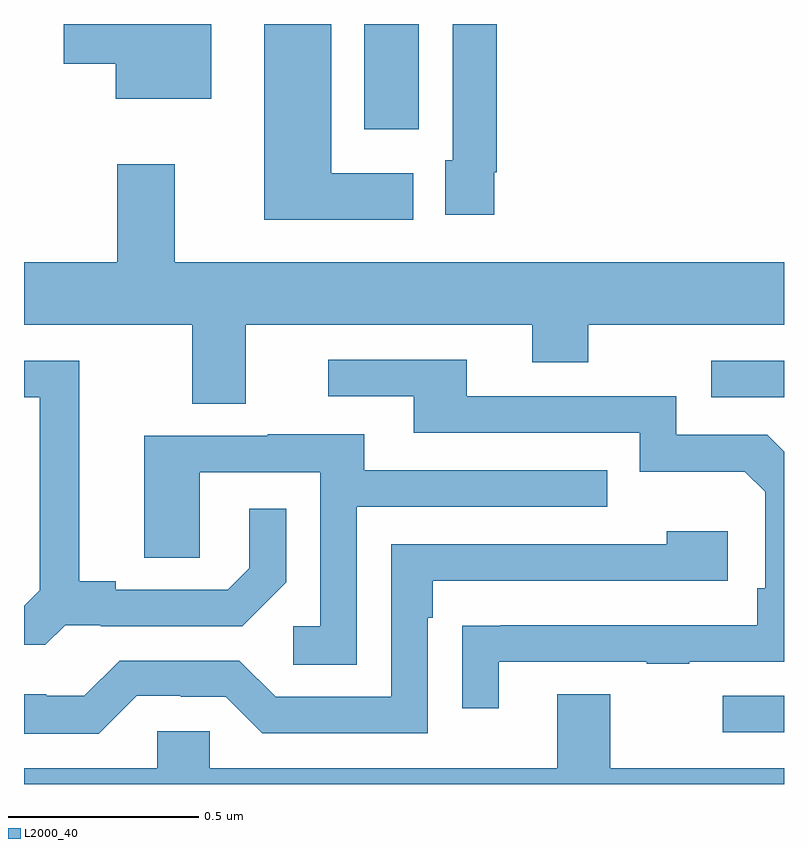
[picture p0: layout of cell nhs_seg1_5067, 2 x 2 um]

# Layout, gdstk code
import gdstk
lib = gdstk.Library(unit=1e-6, precision=1e-09)
def R(c, l, rs):  # rectangles x0, y0, x1, y1
    for r in rs: c.add(gdstk.rectangle(r[:2], r[2:], *l))
def P(c, l, *ps):  # polygons
    for p in ps: c.add(gdstk.Polygon(p, *l))
L2000_40 = (2000, 40)

nhs_seg1_5067 = lib.new_cell('nhs_seg1_5067')
R(nhs_seg1_5067, L2000_40, [(175.839,541.335,176,541.431), (175.809,542.217,176,542.313), (174.896,542.922,175.039,543.199)])
P(nhs_seg1_5067, L2000_40, [(174.493,543.199),(174.105,543.199),(174.105,543.095),(174.242,543.095),(174.242,543.002),(174.493,543.002)],
  [(175.024,542.806),(174.808,542.806),(174.808,543.199),(174.632,543.199),(174.632,542.684),(175.024,542.684)],
  [(175.237,542.809),(175.244,542.809),(175.244,543.199),(175.128,543.199),(175.128,542.841),(175.109,542.841),(175.109,542.697),(175.237,542.697)],
  [(174.583,542.408),(175.337,542.408),(175.337,542.309),(175.485,542.309),(175.485,542.408),(176,542.408),(176,542.572),(174.397,542.572),(174.397,542.83),(174.245,542.83),(174.245,542.572),(174,542.572),(174,542.408),(174.443,542.408),(174.443,542.2),(174.583,542.2)],
  [(175.249,541.521),(175.639,541.521),(175.639,541.516),(175.751,541.516),(175.751,541.521),(176,541.521),(176,542.074),(175.956,542.118),(175.716,542.118),(175.716,542.22),(175.165,542.22),(175.165,542.316),(174.801,542.316),(174.801,542.22),(175.025,542.22),(175.025,542.124),(175.62,542.124),(175.62,542.021),(175.897,542.021),(175.95,541.968),(175.95,541.714),(175.93,541.714),(175.93,541.617),(175.255,541.617),(175.255,541.616),(175.153,541.616),(175.153,541.398),(175.249,541.398)],
  [(174.108,541.617),(174.202,541.617),(174.202,541.614),(174.574,541.614),(174.69,541.73),(174.69,541.924),(174.593,541.924),(174.593,541.767),(174.536,541.71),(174.241,541.71),(174.241,541.733),(174.145,541.733),(174.145,542.313),(174,542.313),(174,542.217),(174.041,542.217),(174.041,541.709),(174,541.668),(174,541.565),(174.056,541.565)],
  [(174.876,541.929),(175.535,541.929),(175.535,542.025),(174.895,542.025),(174.895,542.119),(174.641,542.119),(174.641,542.115),(174.317,542.115),(174.317,541.795),(174.462,541.795),(174.462,542.019),(174.78,542.019),(174.78,541.614),(174.708,541.614),(174.708,541.513),(174.876,541.513)],
  [(174.297,541.431),(174.413,541.431),(174.413,541.428),(174.531,541.428),(174.627,541.332),(175.062,541.332),(175.062,541.637),(175.075,541.637),(175.075,541.734),(175.852,541.734),(175.852,541.864),(175.691,541.864),(175.691,541.83),(174.966,541.83),(174.966,541.428),(174.663,541.428),(174.567,541.524),(174.252,541.524),(174.159,541.431),(174.059,541.431),(174.059,541.435),(174,541.435),(174,541.331),(174.197,541.331)],
  [(176,541.24),(175.543,541.24),(175.543,541.435),(175.403,541.435),(175.403,541.24),(174.489,541.24),(174.489,541.338),(174.351,541.338),(174.351,541.24),(174,541.24),(174,541.199),(176,541.199)])

lib.write_gds('nhs_seg1_5067.gds')
